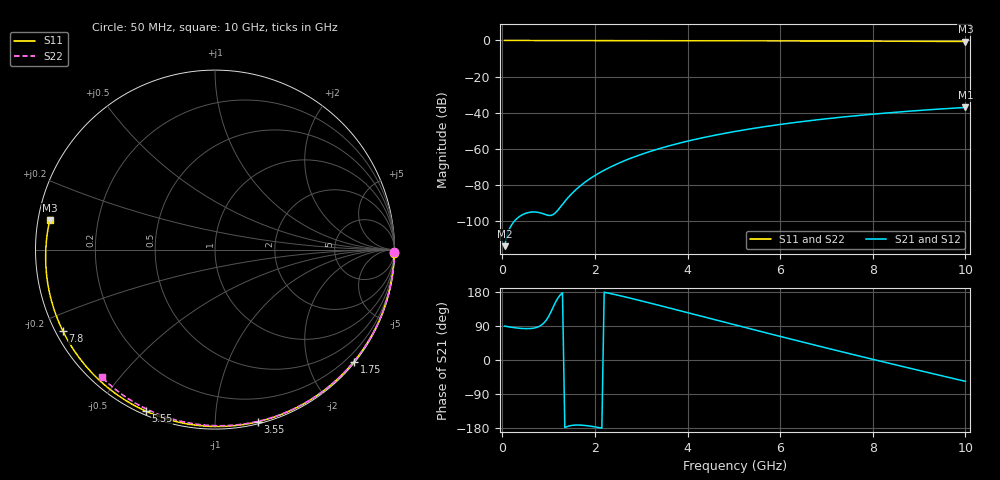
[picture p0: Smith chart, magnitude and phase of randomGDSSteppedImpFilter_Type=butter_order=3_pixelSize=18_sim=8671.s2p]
! freq	dB(S11)	phase(S11)	dB(S12)	phase(S12)
!  dB(S21)	phase(S21)	dB(S22)	phase(S22)
!S-par simulation data
#  GHz  S  DB  R 50
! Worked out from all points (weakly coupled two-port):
!   200 points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, 50 MHz to 10 GHz, reference 50 ohm
!   highest |S21| = -37.07 dB at 10 GHz (marker M1); lowest = -113.8 dB at 50 MHz (marker M2)
!   lowest |S11| = -0.6 dB at 10 GHz (marker M3), VSWR 29.93, Z = 1.68 + j4.4 ohm
!   |S11| at or under -10 dB: nowhere
!   |S22| runs from -0.4 to 0.0 dB; largest |S21 - S12| = 0
!   S11 on the Smith chart (normalised r, x): 50 MHz: open; 1.75 GHz: 0.03, -2.83; 3.55 GHz: 0.02, -1.28; 5.55 GHz: 0.02, -0.66; 7.8 GHz: 0.02, -0.25; 10 GHz: 0.03, +0.09
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0.05  -0.00 -1.1  -113.84 89.5  -113.84 89.5  -0.00 -0.8
0.45  -0.01 -10.2  -96.24 83.0  -96.24 83.0  -0.01 -6.8
0.85  -0.02 -19.1  -95.63 92.7  -95.63 92.7  -0.02 -12.8
1.25  -0.04 -28.0  -92.31 171.5  -92.31 171.5  -0.02 -18.8
1.7  -0.05 -37.8  -80.13 -171.8  -80.13 -171.8  -0.03 -25.5
1.75  -0.05 -38.9  -79.12 -172.3  -79.12 -172.3  -0.03 -26.2
2.05  -0.06 -45.3  -73.96 -177.5  -73.96 -177.5  -0.04 -30.6
2.25  -0.06 -49.5  -71.13 177.6  -71.13 177.6  -0.04 -33.5
2.45  -0.07 -53.7  -68.65 172.3  -68.65 172.3  -0.05 -36.4
2.9  -0.08 -63.0  -63.96 159.1  -63.96 159.1  -0.06 -42.8
3.4  -0.10 -73.1  -59.79 143.8  -59.79 143.8  -0.07 -49.9
3.55  -0.10 -76.0  -58.69 139.1  -58.69 139.1  -0.07 -52.0
4.3  -0.13 -90.4  -53.98 115.5  -53.98 115.5  -0.09 -62.3
5.05  -0.16 -104.3  -50.25 91.8  -50.25 91.8  -0.11 -72.2
5.55  -0.18 -113.2  -48.15 76.2  -48.15 76.2  -0.13 -78.7
6.1  -0.21 -122.8  -46.13 59.2  -46.13 59.2  -0.15 -85.7
6.7  -0.25 -133.1  -44.20 40.8  -44.20 40.8  -0.18 -93.1
7.25  -0.30 -142.5  -42.65 24.1  -42.65 24.1  -0.21 -99.7
7.8  -0.34 -151.8  -41.26 7.7  -41.26 7.7  -0.25 -106.3
8.35  -0.39 -161.1  -40.03 -8.6  -40.03 -8.6  -0.29 -112.7
9.2  -0.49 -175.8  -38.38 -33.3  -38.38 -33.3  -0.36 -122.4
10  -0.58 169.9  -37.07 -56.3  -37.07 -56.3  -0.45 -131.5
